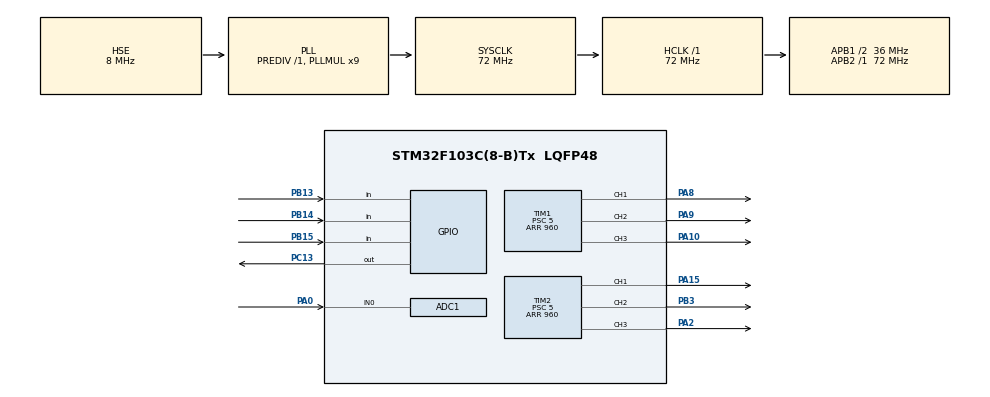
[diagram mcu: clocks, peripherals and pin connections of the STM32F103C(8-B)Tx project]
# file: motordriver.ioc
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ADC1.Channel-0\#ChannelRegularConversion=ADC_CHANNEL_0
ADC1.NbrOfConversionFlag=1
ADC1.Rank-0\#ChannelRegularConversion=1
ADC1.SamplingTime-0\#ChannelRegularConversion=ADC_SAMPLETIME_1CYCLE_5
ADC1.master=1
Mcu.Family=STM32F1
Mcu.Name=STM32F103C(8-B)Tx
Mcu.Package=LQFP48
NVIC.PriorityGroup=NVIC_PRIORITYGROUP_4
PA0-WKUP.Signal=ADCx_IN0
PA10.Signal=S_TIM1_CH3
PA13.Mode=Serial_Wire
PA13.Signal=SYS_JTMS-SWDIO
PA14.Mode=Serial_Wire
PA14.Signal=SYS_JTCK-SWCLK
PA15.Signal=S_TIM2_CH1_ETR
PA2.Signal=S_TIM2_CH3
PA8.Signal=S_TIM1_CH1
PA9.Signal=S_TIM1_CH2
PB13.Signal=GPIO_Input
PB14.Signal=GPIO_Input
PB15.Signal=GPIO_Input
PB3.Signal=S_TIM2_CH2
PC13-TAMPER-RTC.Signal=GPIO_Output
PD0-OSC_IN.Mode=HSE-External-Oscillator
PD0-OSC_IN.Signal=RCC_OSC_IN
PD1-OSC_OUT.Mode=HSE-External-Oscillator
PD1-OSC_OUT.Signal=RCC_OSC_OUT
ProjectManager.HeapSize=0x200
ProjectManager.StackSize=0x400
ProjectManager.TargetToolchain=STM32CubeIDE
RCC.ADCPresc=RCC_ADCPCLK2_DIV6
RCC.AHBFreq_Value=72000000
RCC.APB1CLKDivider=RCC_HCLK_DIV2
RCC.APB1Freq_Value=36000000
RCC.APB1TimFreq_Value=72000000
RCC.APB2Freq_Value=72000000
RCC.APB2TimFreq_Value=72000000
RCC.HCLKFreq_Value=72000000
RCC.PLLMUL=RCC_PLL_MUL9
RCC.PLLSourceVirtual=RCC_PLLSOURCE_HSE
RCC.SYSCLKFreq_VALUE=72000000
RCC.SYSCLKSource=RCC_SYSCLKSOURCE_PLLCLK
RCC.USBFreq_Value=72000000
SH.ADCx_IN0.0=ADC1_IN0,IN0
SH.S_TIM1_CH1.0=TIM1_CH1,PWM Generation1 CH1
SH.S_TIM1_CH2.0=TIM1_CH2,PWM Generation2 CH2
SH.S_TIM1_CH3.0=TIM1_CH3,PWM Generation3 CH3
SH.S_TIM2_CH1_ETR.0=TIM2_CH1,PWM Generation1 CH1
SH.S_TIM2_CH2.0=TIM2_CH2,PWM Generation2 CH2
SH.S_TIM2_CH3.0=TIM2_CH3,PWM Generation3 CH3
TIM1.Channel-PWM\ Generation1\ CH1=TIM_CHANNEL_1
TIM1.Channel-PWM\ Generation2\ CH2=TIM_CHANNEL_2
TIM1.Channel-PWM\ Generation3\ CH3=TIM_CHANNEL_3
TIM1.Period=960
TIM1.Prescaler=5
TIM2.Channel-PWM\ Generation1\ CH1=TIM_CHANNEL_1
TIM2.Channel-PWM\ Generation2\ CH2=TIM_CHANNEL_2
TIM2.Channel-PWM\ Generation3\ CH3=TIM_CHANNEL_3
TIM2.Period=960
TIM2.Prescaler=5
board=custom

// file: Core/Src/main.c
/* USER CODE BEGIN Header */
/**
  ******************************************************************************
  * @file           : main.c
  * @brief          : Main program body
  ******************************************************************************
  * @attention
  *
  * Copyright (c) 2022 STMicroelectronics.
  * All rights reserved.
  *
  * This software is licensed under terms that can be found in the LICENSE file
  * in the root directory of this software component.
  * If no LICENSE file comes with this software, it is provided AS-IS.
  *
  ******************************************************************************
  */
/* USER CODE END Header */
#include "main.h"

 ADC_HandleTypeDef hadc1;

TIM_HandleTypeDef htim1;
TIM_HandleTypeDef htim2;

void SystemClock_Config(void);
static void MX_GPIO_Init(void);
static void MX_ADC1_Init(void);
static void MX_TIM1_Init(void);
static void MX_TIM2_Init(void);

int main(void)
{

  /* MCU Configuration--------------------------------------------------------*/

  /* Reset of all peripherals, Initializes the Flash interface and the Systick. */
  HAL_Init();

  /* Configure the system clock */
  SystemClock_Config();

  /* Initialize all configured peripherals */
  MX_GPIO_Init();
  MX_ADC1_Init();
  MX_TIM1_Init();
  MX_TIM2_Init();
  /* USER CODE BEGIN 2 */
  uint8_t hallpos;
  uint8_t pot_val;

  uint8_t x;
  uint8_t y;
  uint8_t z;

  HAL_ADC_Start(&hadc1);

          	  HAL_TIM_PWM_Start(&htim1, TIM_CHANNEL_1);

          	  HAL_TIM_PWM_Start(&htim1, TIM_CHANNEL_2);

          	  HAL_TIM_PWM_Start(&htim1, TIM_CHANNEL_3);

          	  HAL_TIM_PWM_Start(&htim2, TIM_CHANNEL_1);

          	  HAL_TIM_PWM_Start(&htim2, TIM_CHANNEL_2);

          	  HAL_TIM_PWM_Start(&htim2, TIM_CHANNEL_3);
  /* USER CODE END 2 */

  /* Infinite loop */
  while (1)
  {

    /* USER CODE BEGIN 3 */
	  HAL_ADC_Start(&hadc1);

		  pot_val = HAL_ADC_GetValue(&hadc1)/4.21;

		  	  	  	  	  	x= HAL_GPIO_ReadPin(GPIOB,GPIO_PIN_13);
		  		  	 	  	y= HAL_GPIO_ReadPin(GPIOB,GPIO_PIN_14);
		  		  	 	  	z= HAL_GPIO_ReadPin(GPIOB,GPIO_PIN_15);

		  		  	 	hallpos=100*x+10*y+z;

		  		  	 	if(hallpos==100)
		  		  	 	{
		  		  	 		__HAL_TIM_SET_COMPARE(&htim1,TIM_CHANNEL_1,0);  		// High_A
		  		  	 		__HAL_TIM_SET_COMPARE(&htim1,TIM_CHANNEL_3,0);  		// High_B
		  		  	 		__HAL_TIM_SET_COMPARE(&htim1,TIM_CHANNEL_2,pot_val);    // High_C

		  		  	 		__HAL_TIM_SET_COMPARE(&htim2,TIM_CHANNEL_2,960);		// Low_A
		  		  	 		__HAL_TIM_SET_COMPARE(&htim2,TIM_CHANNEL_3,960);		// Low_B
		  		  	 		__HAL_TIM_SET_COMPARE(&htim2,TIM_CHANNEL_1,0);      	// Low_C
		  		  	 	}

		  		  	 	else if(hallpos==101)
		  		  		{
		  		  		  	__HAL_TIM_SET_COMPARE(&htim1,TIM_CHANNEL_1,0);  	    // High_A
		  		  		  	__HAL_TIM_SET_COMPARE(&htim1,TIM_CHANNEL_3,0);			// High_B
		  		  		  	__HAL_TIM_SET_COMPARE(&htim1,TIM_CHANNEL_2,pot_val);	// High_C

		  		  		  	__HAL_TIM_SET_COMPARE(&htim2,TIM_CHANNEL_1,960);		// Low_A
		  		  		  	__HAL_TIM_SET_COMPARE(&htim2,TIM_CHANNEL_2,960);		// Low_B
		  		  		  	__HAL_TIM_SET_COMPARE(&htim2,TIM_CHANNEL_3,0);			// Low_C
		  		  		}
		  		  	 	else if(hallpos==1)
		  		  		{
		  		  		  	__HAL_TIM_SET_COMPARE(&htim1,TIM_CHANNEL_2,0);			// High_A
		  		  		  	__HAL_TIM_SET_COMPARE(&htim1,TIM_CHANNEL_3,0);			// High_B
		  		  		  	__HAL_TIM_SET_COMPARE(&htim1,TIM_CHANNEL_1,pot_val);	// High_C

		  		  		  	__HAL_TIM_SET_COMPARE(&htim2,TIM_CHANNEL_1,960);		// Low_A
		  		  		  	__HAL_TIM_SET_COMPARE(&htim2,TIM_CHANNEL_2,960);		// Low_B
		  		  		  	__HAL_TIM_SET_COMPARE(&htim2,TIM_CHANNEL_3,0);			// Low_C
		  		  		}
		  		  	 	else if(hallpos==11)
		  		  	    {
		  		  	  		__HAL_TIM_SET_COMPARE(&htim1,TIM_CHANNEL_2,0);			// High_A
		  		  	  		__HAL_TIM_SET_COMPARE(&htim1,TIM_CHANNEL_3,0);			// High_B
		  		  	  		__HAL_TIM_SET_COMPARE(&htim1,TIM_CHANNEL_1,pot_val);	// High_C

		  		  	  		__HAL_TIM_SET_COMPARE(&htim2,TIM_CHANNEL_1,960);		// Low_A
		  		  	  	 	__HAL_TIM_SET_COMPARE(&htim2,TIM_CHANNEL_3,960); 		// Low_B
		  		  	  		__HAL_TIM_SET_COMPARE(&htim2,TIM_CHANNEL_2,0);			// Low_C
		  		  	  	}
		  		  	 	else if(hallpos==10)
		  			  	{
		  			  		__HAL_TIM_SET_COMPARE(&htim1,TIM_CHANNEL_1,0);  	    // High_A
		  			  		__HAL_TIM_SET_COMPARE(&htim1,TIM_CHANNEL_2,0);			// High_B
		  			  		__HAL_TIM_SET_COMPARE(&htim1,TIM_CHANNEL_3,pot_val);	// High_C

		  			  		__HAL_TIM_SET_COMPARE(&htim2,TIM_CHANNEL_1,960);		// Low_A
		  			  		__HAL_TIM_SET_COMPARE(&htim2,TIM_CHANNEL_3,960);		// Low_B
		  			  		__HAL_TIM_SET_COMPARE(&htim2,TIM_CHANNEL_2,0);			// Low_C
		  			  	}
		  		  	 	else //hallpos=110
		  			  	{
		  			  		__HAL_TIM_SET_COMPARE(&htim1,TIM_CHANNEL_1,0);  	    // High_A
		  			  		__HAL_TIM_SET_COMPARE(&htim1,TIM_CHANNEL_2,0);			// High_B
		  			  		__HAL_TIM_SET_COMPARE(&htim1,TIM_CHANNEL_3,pot_val);	// High_C

		  			  		__HAL_TIM_SET_COMPARE(&htim2,TIM_CHANNEL_2,960);		// Low_A
		  			  		__HAL_TIM_SET_COMPARE(&htim2,TIM_CHANNEL_3,960);		// Low_B
		  			  		__HAL_TIM_SET_COMPARE(&htim2,TIM_CHANNEL_1,0);			// Low_C
		  			  	}
  }
  /* USER CODE END 3 */
}

void SystemClock_Config(void)
{
  RCC_OscInitTypeDef RCC_OscInitStruct = {0};
  RCC_ClkInitTypeDef RCC_ClkInitStruct = {0};
  RCC_PeriphCLKInitTypeDef PeriphClkInit = {0};

  /** Initializes the RCC Oscillators according to the specified parameters
  * in the RCC_OscInitTypeDef structure.
  */
  RCC_OscInitStruct.OscillatorType = RCC_OSCILLATORTYPE_HSE;
  RCC_OscInitStruct.HSEState = RCC_HSE_ON;
  RCC_OscInitStruct.HSEPredivValue = RCC_HSE_PREDIV_DIV1;
  RCC_OscInitStruct.HSIState = RCC_HSI_ON;
  RCC_OscInitStruct.PLL.PLLState = RCC_PLL_ON;
  RCC_OscInitStruct.PLL.PLLSource = RCC_PLLSOURCE_HSE;
  RCC_OscInitStruct.PLL.PLLMUL = RCC_PLL_MUL9;
  if (HAL_RCC_OscConfig(&RCC_OscInitStruct) != HAL_OK)
  {
    Error_Handler();
  }

  /** Initializes the CPU, AHB and APB buses clocks
  */
  RCC_ClkInitStruct.ClockType = RCC_CLOCKTYPE_HCLK|RCC_CLOCKTYPE_SYSCLK
                              |RCC_CLOCKTYPE_PCLK1|RCC_CLOCKTYPE_PCLK2;
  RCC_ClkInitStruct.SYSCLKSource = RCC_SYSCLKSOURCE_PLLCLK;
  RCC_ClkInitStruct.AHBCLKDivider = RCC_SYSCLK_DIV1;
  RCC_ClkInitStruct.APB1CLKDivider = RCC_HCLK_DIV2;
  RCC_ClkInitStruct.APB2CLKDivider = RCC_HCLK_DIV1;

  if (HAL_RCC_ClockConfig(&RCC_ClkInitStruct, FLASH_LATENCY_2) != HAL_OK)
  {
    Error_Handler();
  }
  PeriphClkInit.PeriphClockSelection = RCC_PERIPHCLK_ADC;
  PeriphClkInit.AdcClockSelection = RCC_ADCPCLK2_DIV6;
  if (HAL_RCCEx_PeriphCLKConfig(&PeriphClkInit) != HAL_OK)
  {
    Error_Handler();
  }
}

static void MX_ADC1_Init(void)
{

  ADC_ChannelConfTypeDef sConfig = {0};

  /** Common config
  */
  hadc1.Instance = ADC1;
  hadc1.Init.ScanConvMode = ADC_SCAN_DISABLE;
  hadc1.Init.ContinuousConvMode = DISABLE;
  hadc1.Init.DiscontinuousConvMode = DISABLE;
  hadc1.Init.ExternalTrigConv = ADC_SOFTWARE_START;
  hadc1.Init.DataAlign = ADC_DATAALIGN_RIGHT;
  hadc1.Init.NbrOfConversion = 1;
  if (HAL_ADC_Init(&hadc1) != HAL_OK)
  {
    Error_Handler();
  }

  /** Configure Regular Channel
  */
  sConfig.Channel = ADC_CHANNEL_0;
  sConfig.Rank = ADC_REGULAR_RANK_1;
  sConfig.SamplingTime = ADC_SAMPLETIME_1CYCLE_5;
  if (HAL_ADC_ConfigChannel(&hadc1, &sConfig) != HAL_OK)
  {
    Error_Handler();
  }

}

static void MX_TIM1_Init(void)
{

  TIM_MasterConfigTypeDef sMasterConfig = {0};
  TIM_OC_InitTypeDef sConfigOC = {0};
  TIM_BreakDeadTimeConfigTypeDef sBreakDeadTimeConfig = {0};

  htim1.Instance = TIM1;
  htim1.Init.Prescaler = 5;
  htim1.Init.CounterMode = TIM_COUNTERMODE_UP;
  htim1.Init.Period = 960;
  htim1.Init.ClockDivision = TIM_CLOCKDIVISION_DIV1;
  htim1.Init.RepetitionCounter = 0;
  htim1.Init.AutoReloadPreload = TIM_AUTORELOAD_PRELOAD_DISABLE;
  if (HAL_TIM_PWM_Init(&htim1) != HAL_OK)
  {
    Error_Handler();
  }
  sMasterConfig.MasterOutputTrigger = TIM_TRGO_RESET;
  sMasterConfig.MasterSlaveMode = TIM_MASTERSLAVEMODE_DISABLE;
  if (HAL_TIMEx_MasterConfigSynchronization(&htim1, &sMasterConfig) != HAL_OK)
  {
    Error_Handler();
  }
  sConfigOC.OCMode = TIM_OCMODE_PWM1;
  sConfigOC.Pulse = 0;
  sConfigOC.OCPolarity = TIM_OCPOLARITY_HIGH;
  sConfigOC.OCNPolarity = TIM_OCNPOLARITY_HIGH;
  sConfigOC.OCFastMode = TIM_OCFAST_DISABLE;
  sConfigOC.OCIdleState = TIM_OCIDLESTATE_RESET;
  sConfigOC.OCNIdleState = TIM_OCNIDLESTATE_RESET;
  if (HAL_TIM_PWM_ConfigChannel(&htim1, &sConfigOC, TIM_CHANNEL_1) != HAL_OK)
  {
    Error_Handler();
  }
  if (HAL_TIM_PWM_ConfigChannel(&htim1, &sConfigOC, TIM_CHANNEL_2) != HAL_OK)
  {
    Error_Handler();
  }
  if (HAL_TIM_PWM_ConfigChannel(&htim1, &sConfigOC, TIM_CHANNEL_3) != HAL_OK)
  {
    Error_Handler();
  }
  sBreakDeadTimeConfig.OffStateRunMode = TIM_OSSR_DISABLE;
  sBreakDeadTimeConfig.OffStateIDLEMode = TIM_OSSI_DISABLE;
  sBreakDeadTimeConfig.LockLevel = TIM_LOCKLEVEL_OFF;
  sBreakDeadTimeConfig.DeadTime = 0;
  sBreakDeadTimeConfig.BreakState = TIM_BREAK_DISABLE;
  sBreakDeadTimeConfig.BreakPolarity = TIM_BREAKPOLARITY_HIGH;
  sBreakDeadTimeConfig.AutomaticOutput = TIM_AUTOMATICOUTPUT_DISABLE;
  if (HAL_TIMEx_ConfigBreakDeadTime(&htim1, &sBreakDeadTimeConfig) != HAL_OK)
  {
    Error_Handler();
  }
  HAL_TIM_MspPostInit(&htim1);

}

static void MX_TIM2_Init(void)
{

  TIM_MasterConfigTypeDef sMasterConfig = {0};
  TIM_OC_InitTypeDef sConfigOC = {0};

  htim2.Instance = TIM2;
  htim2.Init.Prescaler = 5;
  htim2.Init.CounterMode = TIM_COUNTERMODE_UP;
  htim2.Init.Period = 960;
  htim2.Init.ClockDivision = TIM_CLOCKDIVISION_DIV1;
  htim2.Init.AutoReloadPreload = TIM_AUTORELOAD_PRELOAD_DISABLE;
  if (HAL_TIM_PWM_Init(&htim2) != HAL_OK)
  {
    Error_Handler();
  }
  sMasterConfig.MasterOutputTrigger = TIM_TRGO_RESET;
  sMasterConfig.MasterSlaveMode = TIM_MASTERSLAVEMODE_DISABLE;
  if (HAL_TIMEx_MasterConfigSynchronization(&htim2, &sMasterConfig) != HAL_OK)
  {
    Error_Handler();
  }
  sConfigOC.OCMode = TIM_OCMODE_PWM1;
  sConfigOC.Pulse = 0;
  sConfigOC.OCPolarity = TIM_OCPOLARITY_HIGH;
  sConfigOC.OCFastMode = TIM_OCFAST_DISABLE;
  if (HAL_TIM_PWM_ConfigChannel(&htim2, &sConfigOC, TIM_CHANNEL_1) != HAL_OK)
  {
    Error_Handler();
  }
  if (HAL_TIM_PWM_ConfigChannel(&htim2, &sConfigOC, TIM_CHANNEL_2) != HAL_OK)
  {
    Error_Handler();
  }
  if (HAL_TIM_PWM_ConfigChannel(&htim2, &sConfigOC, TIM_CHANNEL_3) != HAL_OK)
  {
    Error_Handler();
  }
  HAL_TIM_MspPostInit(&htim2);

}

static void MX_GPIO_Init(void)
{
  GPIO_InitTypeDef GPIO_InitStruct = {0};

  /* GPIO Ports Clock Enable */
  __HAL_RCC_GPIOC_CLK_ENABLE();
  __HAL_RCC_GPIOD_CLK_ENABLE();
  __HAL_RCC_GPIOA_CLK_ENABLE();
  __HAL_RCC_GPIOB_CLK_ENABLE();

  /*Configure GPIO pin Output Level */
  HAL_GPIO_WritePin(GPIOC, GPIO_PIN_13, GPIO_PIN_RESET);

  /*Configure GPIO pin : PC13 */
  GPIO_InitStruct.Pin = GPIO_PIN_13;
  GPIO_InitStruct.Mode = GPIO_MODE_OUTPUT_PP;
  GPIO_InitStruct.Pull = GPIO_NOPULL;
  GPIO_InitStruct.Speed = GPIO_SPEED_FREQ_LOW;
  HAL_GPIO_Init(GPIOC, &GPIO_InitStruct);

  /*Configure GPIO pins : PB13 PB14 PB15 */
  GPIO_InitStruct.Pin = GPIO_PIN_13|GPIO_PIN_14|GPIO_PIN_15;
  GPIO_InitStruct.Mode = GPIO_MODE_INPUT;
  GPIO_InitStruct.Pull = GPIO_NOPULL;
  HAL_GPIO_Init(GPIOB, &GPIO_InitStruct);

}

void Error_Handler(void)
{
  __disable_irq();
  while (1)
  {
  }
}
